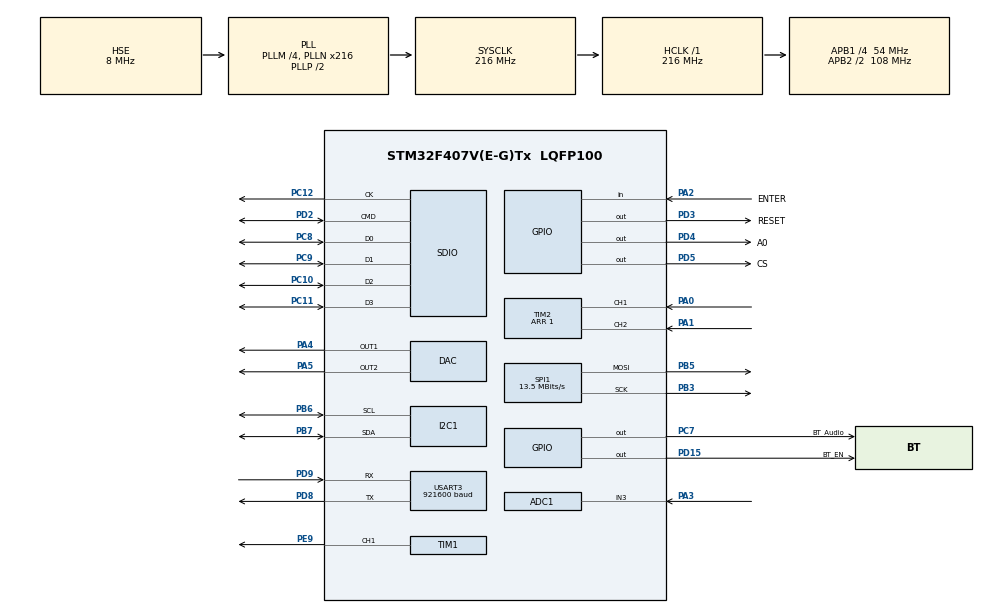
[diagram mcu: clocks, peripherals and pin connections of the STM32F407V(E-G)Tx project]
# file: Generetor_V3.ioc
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ADC1.Channel-0\#ChannelRegularConversion=ADC_CHANNEL_3
ADC1.ClockPrescaler=ADC_CLOCK_SYNC_PCLK_DIV8
ADC1.NbrOfConversion=1
ADC1.NbrOfConversionFlag=1
ADC1.Rank-0\#ChannelRegularConversion=1
ADC1.SamplingTime-0\#ChannelRegularConversion=ADC_SAMPLETIME_3CYCLES
ADC1.master=1
DAC.DAC_Trigger=DAC_TRIGGER_T6_TRGO
DAC.DAC_Trigger2=DAC_TRIGGER_T6_TRGO
Dma.DAC1.0.Direction=DMA_MEMORY_TO_PERIPH
Dma.DAC1.0.FIFOMode=DMA_FIFOMODE_DISABLE
Dma.DAC1.0.Instance=DMA1_Stream5
Dma.DAC1.0.MemDataAlignment=DMA_MDATAALIGN_HALFWORD
Dma.DAC1.0.MemInc=DMA_MINC_ENABLE
Dma.DAC1.0.Mode=DMA_CIRCULAR
Dma.DAC1.0.PeriphDataAlignment=DMA_PDATAALIGN_HALFWORD
Dma.DAC1.0.PeriphInc=DMA_PINC_DISABLE
Dma.DAC1.0.Priority=DMA_PRIORITY_VERY_HIGH
Dma.Request0=DAC1
Dma.Request1=SPI1_TX
Dma.Request2=USART3_TX
Dma.SPI1_TX.1.Direction=DMA_MEMORY_TO_PERIPH
Dma.SPI1_TX.1.FIFOMode=DMA_FIFOMODE_DISABLE
Dma.SPI1_TX.1.Instance=DMA2_Stream3
Dma.SPI1_TX.1.MemDataAlignment=DMA_MDATAALIGN_HALFWORD
Dma.SPI1_TX.1.MemInc=DMA_MINC_ENABLE
Dma.SPI1_TX.1.Mode=DMA_NORMAL
Dma.SPI1_TX.1.PeriphDataAlignment=DMA_PDATAALIGN_HALFWORD
Dma.SPI1_TX.1.PeriphInc=DMA_PINC_DISABLE
Dma.SPI1_TX.1.Priority=DMA_PRIORITY_LOW
Dma.USART3_TX.2.Direction=DMA_MEMORY_TO_PERIPH
Dma.USART3_TX.2.FIFOMode=DMA_FIFOMODE_DISABLE
Dma.USART3_TX.2.Instance=DMA1_Stream3
Dma.USART3_TX.2.MemDataAlignment=DMA_MDATAALIGN_BYTE
Dma.USART3_TX.2.MemInc=DMA_MINC_ENABLE
Dma.USART3_TX.2.Mode=DMA_NORMAL
Dma.USART3_TX.2.PeriphDataAlignment=DMA_PDATAALIGN_BYTE
Dma.USART3_TX.2.PeriphInc=DMA_PINC_DISABLE
Dma.USART3_TX.2.Priority=DMA_PRIORITY_LOW
FATFS._CODE_PAGE=866
FATFS._FS_NORTC=0
FATFS._MAX_LFN=32
FATFS._MAX_SS=512
FATFS._USE_LFN=1
FATFS._USE_MKFS=0
Mcu.Family=STM32F4
Mcu.Name=STM32F407V(E-G)Tx
Mcu.Package=LQFP100
NVIC.DMA1_Stream3_IRQn=true\:0\:0\:false\:false\:true\:false\:true\:true
NVIC.DMA1_Stream5_IRQn=true\:1\:0\:true\:false\:false\:false\:true\:true
NVIC.DMA2_Stream3_IRQn=true\:10\:0\:true\:false\:false\:false\:true\:true
NVIC.PriorityGroup=NVIC_PRIORITYGROUP_4
NVIC.TIM2_IRQn=true\:14\:0\:true\:false\:false\:true\:true\:true
NVIC.USART3_IRQn=true\:0\:0\:false\:false\:false\:true\:true\:true
PA0-WKUP.Signal=S_TIM2_CH1_ETR
PA1.Signal=S_TIM2_CH2
PA13.Mode=Serial_Wire
PA13.Signal=SYS_JTMS-SWDIO
PA14.Mode=Serial_Wire
PA14.Signal=SYS_JTCK-SWCLK
PA2.GPIO_Label=ENTER
PA2.GPIO_PuPd=GPIO_PULLUP
PA2.Signal=GPIO_Input
PA3.Signal=ADCx_IN3
PA4.Signal=COMP_DAC1_group
PA5.Signal=COMP_DAC2_group
PB3.Mode=TX_Only_Simplex_Unidirect_Master
PB3.Signal=SPI1_SCK
PB5.Mode=TX_Only_Simplex_Unidirect_Master
PB5.Signal=SPI1_MOSI
PB6.Mode=I2C
PB6.Signal=I2C1_SCL
PB7.Mode=I2C
PB7.Signal=I2C1_SDA
PC10.Mode=SD_4_bits_Wide_bus
PC10.Signal=SDIO_D2
PC11.Mode=SD_4_bits_Wide_bus
PC11.Signal=SDIO_D3
PC12.Mode=SD_4_bits_Wide_bus
PC12.Signal=SDIO_CK
PC7.GPIO_Label=BT_Audio
PC7.GPIO_PuPd=GPIO_NOPULL
PC7.Signal=GPIO_Output
PC8.Mode=SD_4_bits_Wide_bus
PC8.Signal=SDIO_D0
PC9.Mode=SD_4_bits_Wide_bus
PC9.Signal=SDIO_D1
PD15.GPIO_Label=BT_EN
PD15.GPIO_PuPd=GPIO_PULLDOWN
PD15.Signal=GPIO_Output
PD2.Mode=SD_4_bits_Wide_bus
PD2.Signal=SDIO_CMD
PD3.GPIO_Label=RESET
PD3.Signal=GPIO_Output
PD4.GPIO_Label=A0
PD4.Signal=GPIO_Output
PD5.GPIO_Label=CS
PD5.Signal=GPIO_Output
PD8.Mode=Asynchronous
PD8.Signal=USART3_TX
PD9.Mode=Asynchronous
PD9.Signal=USART3_RX
PE9.Signal=S_TIM1_CH1
PH0-OSC_IN.Mode=HSE-External-Oscillator
PH0-OSC_IN.Signal=RCC_OSC_IN
PH1-OSC_OUT.Mode=HSE-External-Oscillator
PH1-OSC_OUT.Signal=RCC_OSC_OUT
ProjectManager.HeapSize=0x1000
ProjectManager.StackSize=0x2000
ProjectManager.TargetToolchain=STM32CubeIDE
RCC.48MHZClocksFreq_Value=48000000
RCC.AHBFreq_Value=216000000
RCC.APB1CLKDivider=RCC_HCLK_DIV4
RCC.APB1Freq_Value=54000000
RCC.APB1TimFreq_Value=108000000
RCC.APB2CLKDivider=RCC_HCLK_DIV2
RCC.APB2Freq_Value=108000000
RCC.APB2TimFreq_Value=216000000
RCC.CortexFreq_Value=216000000
RCC.HCLKFreq_Value=216000000
RCC.HSE_VALUE=8000000
RCC.HSI_VALUE=16000000
RCC.LSE_VALUE=32768
RCC.PLLM=4
RCC.PLLN=216
RCC.PLLQ=9
RCC.PLLSourceVirtual=RCC_PLLSOURCE_HSE
RCC.SYSCLKFreq_VALUE=216000000
RCC.SYSCLKSource=RCC_SYSCLKSOURCE_PLLCLK
RCC.VCOOutputFreq_Value=432000000
SDIO.ClockBypass=SDIO_CLOCK_BYPASS_ENABLE
SDIO.ClockPowerSave=SDIO_CLOCK_POWER_SAVE_ENABLE
SDIO.HardwareFlowControl=SDIO_HARDWARE_FLOW_CONTROL_ENABLE
SH.ADCx_IN3.0=ADC1_IN3,IN3
SH.COMP_DAC1_group.0=DAC_OUT1,DAC_OUT1
SH.COMP_DAC2_group.0=DAC_OUT2,DAC_OUT2
SH.S_TIM1_CH1.0=TIM1_CH1,PWM Generation1 CH1
SH.S_TIM2_CH1_ETR.0=TIM2_CH1,Encoder_Interface
SH.S_TIM2_CH2.0=TIM2_CH2,Encoder_Interface
SPI1.BaudRatePrescaler=SPI_BAUDRATEPRESCALER_8
SPI1.CLKPhase=SPI_PHASE_2EDGE
SPI1.CLKPolarity=SPI_POLARITY_HIGH
SPI1.CalculateBaudRate=13.5 MBits/s
SPI1.Direction=SPI_DIRECTION_2LINES
SPI1.Mode=SPI_MODE_MASTER
SPI1.VirtualType=VM_MASTER
TIM1.Channel-PWM\ Generation1\ CH1=TIM_CHANNEL_1
TIM1.Period=255
TIM1.Prescaler=216
TIM2.IC1Filter=15
TIM2.IC1Prescaler=TIM_ICPSC_DIV8
TIM2.IC2Filter=15
TIM2.IC2Prescaler=TIM_ICPSC_DIV8
TIM2.Period=1
TIM2.TIM_MasterOutputTrigger=TIM_TRGO_UPDATE
TIM3.Period=50000
TIM3.Prescaler=215
TIM3.TIM_MasterOutputTrigger=TIM_TRGO_UPDATE
TIM6.Period=215
TIM6.TIM_MasterOutputTrigger=TIM_TRGO_UPDATE
USART3.BaudRate=921600
USART3.VirtualMode=VM_ASYNC
VP_CRC_VS_CRC.Mode=CRC_Activate
VP_FATFS_VS_SDIO.Mode=SDIO
VP_TIM1_VS_ClockSourceINT.Mode=Internal
VP_TIM3_VS_ClockSourceINT.Mode=Internal
VP_TIM5_VS_ClockSourceINT.Mode=Internal
VP_TIM6_VS_ClockSourceINT.Mode=Enable_Timer
board=custom

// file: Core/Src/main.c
/* USER CODE BEGIN Header */
/**
  ******************************************************************************
  * @file           : main.c
  * @brief          : Main program body
  ******************************************************************************
  * @attention
  *
  * Copyright (c) 2026 STMicroelectronics.
  * All rights reserved.
  *
  * This software is licensed under terms that can be found in the LICENSE file
  * in the root directory of this software component.
  * If no LICENSE file comes with this software, it is provided AS-IS.
  *
  ******************************************************************************
  */
/* USER CODE END Header */
#include "main.h"
#include "adc.h"
#include "crc.h"
#include "dac.h"
#include "dma.h"
#include "fatfs.h"
#include "i2c.h"
#include "sdio.h"
#include "spi.h"
#include "tim.h"
#include "usart.h"
#include "gpio.h"

/* USER CODE BEGIN Includes */
extern void main_cpp(void);
/* USER CODE END Includes */

void SystemClock_Config(void);
/* USER CODE BEGIN PFP */
uint16_t res;
/* USER CODE END PFP */

/* USER CODE BEGIN 0 */
#define APPLICATION_ADDRESS    0x08040000
static void Go_To_User_App(void)
{
    uint32_t app_jump_address;

    typedef void(*pFunction)(void);
    pFunction Jump_To_Application;

     __disable_irq();

    app_jump_address = *( uint32_t*) (APPLICATION_ADDRESS + 4);
    Jump_To_Application = (pFunction)app_jump_address;
	SCB->VTOR = APPLICATION_ADDRESS;
    __set_MSP(*(__IO uint32_t*) APPLICATION_ADDRESS);
    Jump_To_Application();
}
/* USER CODE END 0 */

int main(void)
{

  /* USER CODE BEGIN 1 */
	__disable_irq();
	SCB->VTOR = 0x80C0000;

	// Сброс тактирования на HSI и отключение PLL при мягком перезапуске (прошивка / отладчик),
	// чтобы HAL_RCC_OscConfig() в SystemClock_Config() не возвращал HAL_ERROR
	if (__HAL_RCC_GET_SYSCLK_SOURCE() != RCC_SYSCLKSOURCE_STATUS_HSI)
	{
		__HAL_RCC_HSI_ENABLE();
		while (__HAL_RCC_GET_FLAG(RCC_FLAG_HSIRDY) == RESET) {}
		__HAL_RCC_SYSCLK_CONFIG(RCC_SYSCLKSOURCE_HSI);
		while (__HAL_RCC_GET_SYSCLK_SOURCE() != RCC_SYSCLKSOURCE_STATUS_HSI) {}
	}
	if (READ_BIT(RCC->CR, RCC_CR_PLLON) != 0U)
	{
		__HAL_RCC_PLL_DISABLE();
		while (READ_BIT(RCC->CR, RCC_CR_PLLRDY) != 0U) {}
	}

	// Обнулить только пользовательские буферы в CCM-памяти (.my_ccmram),
	// не повреждая область стека у 0x10010000, где работает сам main
	extern uint32_t _smy_ccmram[], _emy_ccmram[];
	uint32_t *p = _smy_ccmram;
	while (p < _emy_ccmram)
		*p++ = 0;
  /* USER CODE END 1 */

  /* MCU Configuration--------------------------------------------------------*/

  /* Reset of all peripherals, Initializes the Flash interface and the Systick. */
  HAL_Init();

  /* Configure the system clock */
  SystemClock_Config();

  /* Initialize all configured peripherals */
  MX_GPIO_Init();
  MX_DMA_Init();
  MX_CRC_Init();
  MX_DAC_Init();
  MX_I2C1_Init();
  MX_SDIO_SD_Init();
  MX_SPI1_Init();
  MX_TIM1_Init();
  MX_TIM2_Init();
  MX_TIM6_Init();
  MX_USART3_UART_Init();
  MX_TIM3_Init();
  MX_FATFS_Init();
  MX_TIM5_Init();
  MX_ADC1_Init();
  /* USER CODE BEGIN 2 */
  __enable_irq();

  HAL_UART_MspInit(&huart3);

    //Encoder
    TIM2->SR &= ~TIM_SR_UIF; // clear UIF flag
    HAL_TIM_Base_Start(&htim2);
    HAL_TIM_Base_Start_IT(&htim2);
    TIM2->DIER |= TIM_DIER_UIE;

    //HAL_TIM_Base_Start(&htim2);
    //HAL_TIM_Base_Start_IT(&htim2);

    TIM1->CCR1 = 200;
    HAL_TIM_PWM_Start(&htim1, TIM_CHANNEL_1);

    res = f_mount(&SDFatFS, SDPath, 1); //Mount MicroSd

    main_cpp();

  /* USER CODE END 2 */

  /* Infinite loop */
  while (1)
  {

  }
}

void SystemClock_Config(void)
{
  RCC_OscInitTypeDef RCC_OscInitStruct = {0};
  RCC_ClkInitTypeDef RCC_ClkInitStruct = {0};

  /** Configure the main internal regulator output voltage
  */
  __HAL_RCC_PWR_CLK_ENABLE();
  __HAL_PWR_VOLTAGESCALING_CONFIG(PWR_REGULATOR_VOLTAGE_SCALE1);

  /** Initializes the RCC Oscillators according to the specified parameters
  * in the RCC_OscInitTypeDef structure.
  */
  RCC_OscInitStruct.OscillatorType = RCC_OSCILLATORTYPE_HSE;
  RCC_OscInitStruct.HSEState = RCC_HSE_ON;
  RCC_OscInitStruct.PLL.PLLState = RCC_PLL_ON;
  RCC_OscInitStruct.PLL.PLLSource = RCC_PLLSOURCE_HSE;
  RCC_OscInitStruct.PLL.PLLM = 4;
  RCC_OscInitStruct.PLL.PLLN = 216;
  RCC_OscInitStruct.PLL.PLLP = RCC_PLLP_DIV2;
  RCC_OscInitStruct.PLL.PLLQ = 9;
  if (HAL_RCC_OscConfig(&RCC_OscInitStruct) != HAL_OK)
  {
    Error_Handler();
  }

  /** Initializes the CPU, AHB and APB buses clocks
  */
  RCC_ClkInitStruct.ClockType = RCC_CLOCKTYPE_HCLK|RCC_CLOCKTYPE_SYSCLK
                              |RCC_CLOCKTYPE_PCLK1|RCC_CLOCKTYPE_PCLK2;
  RCC_ClkInitStruct.SYSCLKSource = RCC_SYSCLKSOURCE_PLLCLK;
  RCC_ClkInitStruct.AHBCLKDivider = RCC_SYSCLK_DIV1;
  RCC_ClkInitStruct.APB1CLKDivider = RCC_HCLK_DIV4;
  RCC_ClkInitStruct.APB2CLKDivider = RCC_HCLK_DIV2;

  if (HAL_RCC_ClockConfig(&RCC_ClkInitStruct, FLASH_LATENCY_5) != HAL_OK)
  {
    Error_Handler();
  }
}

void Error_Handler(void)
{
	__disable_irq();
	while (1) {
	}
}
